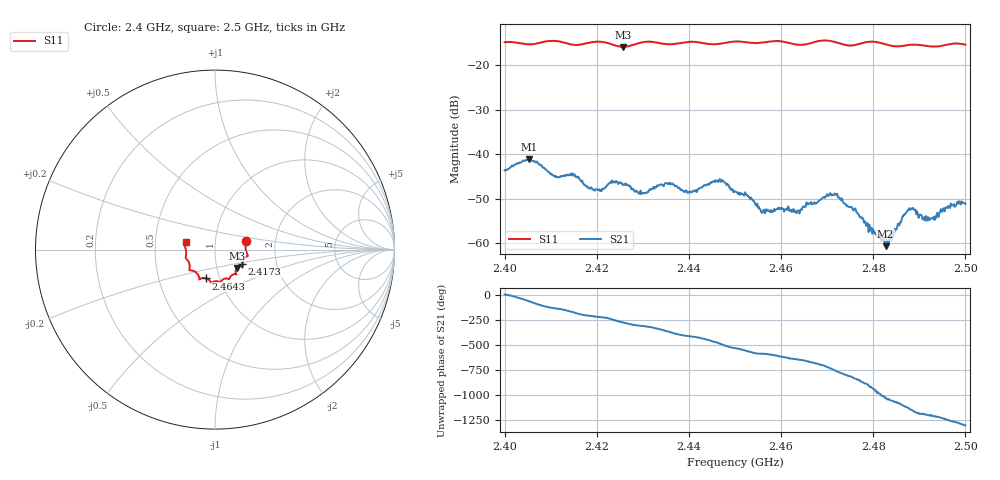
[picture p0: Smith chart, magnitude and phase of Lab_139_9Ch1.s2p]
# Hz S RI R 50
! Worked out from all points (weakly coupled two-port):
!   601 points, 2.4 GHz to 2.5 GHz, reference 50 ohm
!   highest |S21| = -41.19 dB at 2.4053 GHz (marker M1); lowest = -60.7 dB at 2.4827 GHz (marker M2)
!   lowest |S11| = -15.9 dB at 2.4257 GHz (marker M3), VSWR 1.38, Z = 62.4 - j13.1 ohm
!   |S11| at or under -10 dB: start of sweep to end of sweep
!   S12 and S22 are empty: the file has one direction only
!   S11 on the Smith chart (normalised r, x): 2.4 GHz: 1.41, +0.14; 2.4173 GHz: 1.34, -0.23; 2.4643 GHz: 0.86, -0.28; 2.5 GHz: 0.72, +0.06
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2.4e9  0.1732 0.0496  0.00656 0.000616  0 0  0 0
2.405333e9  0.17 0.00954  0.00409 -0.00771  0 0  0 0
2.410833e9  0.1834 -0.0342  -0.00381 -0.00427  0 0  0 0
2.416667e9  0.1528 -0.0747  -0.00478 0.00118  0 0  0 0
2.417333e9  0.1522 -0.082  -0.00418 0.00159  0 0  0 0
2.4205e9  0.1548 -0.0968  -0.00315 0.0025  0 0  0 0
2.425667e9  0.1225 -0.1023  0.000244 0.00448  0 0  0 0
2.430167e9  0.1184 -0.1367  0.0023 0.00285  0 0  0 0
2.433333e9  0.1128 -0.1367  0.00408 0.00177  0 0  0 0
2.440167e9  0.0795 -0.1638  0.00238 -0.00297  0 0  0 0
2.447e9  0.0403 -0.1693  -0.00309 -0.00379  0 0  0 0
2.45e9  0.0297 -0.1809  -0.00372 -0.000808  0 0  0 0
2.452667e9  0.0195 -0.1783  -0.00322 0.00112  0 0  0 0
2.456167e9  -0.00797 -0.1787  -0.00162 0.00157  0 0  0 0
2.464333e9  -0.0502 -0.1606  0.000675 0.00231  0 0  0 0
2.466667e9  -0.0763 -0.1598  0.0018 0.00206  0 0  0 0
2.472167e9  -0.0882 -0.1548  0.00268 -0.00239  0 0  0 0
2.482667e9  -0.1405 -0.0967  0.000476 0.000795  0 0  0 0
2.483333e9  -0.1408 -0.0896  0.00069 0.000684  0 0  0 0
2.487833e9  -0.1598 -0.0518  0.00149 -0.00197  0 0  0 0
2.492333e9  -0.1607 -0.0215  -0.00086 -0.00165  0 0  0 0
2.5e9  -0.1638 0.0422  -0.00209 0.00178  0 0  0 0
